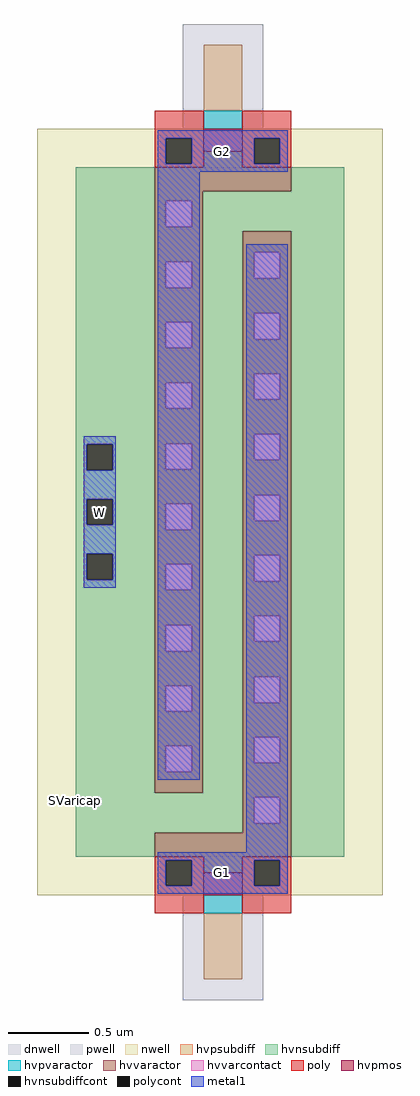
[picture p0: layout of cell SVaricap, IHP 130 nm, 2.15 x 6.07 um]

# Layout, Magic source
magic
tech ihp-sg13g2
magscale 1 2
<< dnwell >>
rect 48 48 382 906
<< nwell >>
rect 0 0 430 954
<< pwell >>
rect 181 954 281 1084
rect 181 -130 281 0
<< hvpmos >>
rect 207 926 255 954
rect 207 0 255 28
<< hvvaractor >>
rect 207 906 255 926
rect 146 876 316 906
rect 146 864 206 876
rect 146 832 160 864
rect 192 832 206 864
rect 146 788 206 832
rect 146 756 160 788
rect 192 756 206 788
rect 146 713 206 756
rect 146 681 160 713
rect 192 681 206 713
rect 146 638 206 681
rect 146 606 160 638
rect 192 606 206 638
rect 146 562 206 606
rect 146 530 160 562
rect 192 530 206 562
rect 146 487 206 530
rect 146 455 160 487
rect 192 455 206 487
rect 146 412 206 455
rect 146 380 160 412
rect 192 380 206 412
rect 146 336 206 380
rect 146 304 160 336
rect 192 304 206 336
rect 146 261 206 304
rect 146 229 160 261
rect 192 229 206 261
rect 146 186 206 229
rect 146 154 160 186
rect 192 154 206 186
rect 146 128 206 154
rect 256 800 316 826
rect 256 768 270 800
rect 302 768 316 800
rect 256 724 316 768
rect 256 692 270 724
rect 302 692 316 724
rect 256 649 316 692
rect 256 617 270 649
rect 302 617 316 649
rect 256 574 316 617
rect 256 542 270 574
rect 302 542 316 574
rect 256 498 316 542
rect 256 466 270 498
rect 302 466 316 498
rect 256 423 316 466
rect 256 391 270 423
rect 302 391 316 423
rect 256 348 316 391
rect 256 316 270 348
rect 302 316 316 348
rect 256 272 316 316
rect 256 240 270 272
rect 302 240 316 272
rect 256 197 316 240
rect 256 165 270 197
rect 302 165 316 197
rect 256 122 316 165
rect 256 90 270 122
rect 302 90 316 122
rect 256 78 316 90
rect 146 48 316 78
rect 207 28 255 48
<< hvvarcontact >>
rect 160 832 192 864
rect 160 756 192 788
rect 160 681 192 713
rect 160 606 192 638
rect 160 530 192 562
rect 160 455 192 487
rect 160 380 192 412
rect 160 304 192 336
rect 160 229 192 261
rect 160 154 192 186
rect 270 768 302 800
rect 270 692 302 724
rect 270 617 302 649
rect 270 542 302 574
rect 270 466 302 498
rect 270 391 302 423
rect 270 316 302 348
rect 270 240 302 272
rect 270 165 302 197
rect 270 90 302 122
<< hvpvaractor >>
rect 207 954 255 976
rect 207 -22 255 0
<< hvpsubdiff >>
rect 207 976 255 1058
rect 207 -104 255 -22
<< hvnsubdiff >>
rect 48 561 146 906
rect 316 876 382 906
rect 206 826 382 876
rect 48 529 62 561
rect 94 529 146 561
rect 48 493 146 529
rect 48 461 62 493
rect 94 461 146 493
rect 48 425 146 461
rect 48 393 62 425
rect 94 393 146 425
rect 48 128 146 393
rect 206 128 256 826
rect 48 78 256 128
rect 48 48 146 78
rect 316 48 382 826
<< hvnsubdiffcont >>
rect 62 529 94 561
rect 62 461 94 493
rect 62 393 94 425
<< poly >>
rect 146 942 207 976
rect 146 910 160 942
rect 192 910 207 942
rect 255 942 316 976
rect 146 906 207 910
rect 255 910 270 942
rect 302 910 316 942
rect 255 906 316 910
rect 146 44 207 48
rect 146 12 160 44
rect 192 12 207 44
rect 255 44 316 48
rect 146 -22 207 12
rect 255 12 270 44
rect 302 12 316 44
rect 255 -22 316 12
<< polycont >>
rect 160 910 192 942
rect 270 910 302 942
rect 160 12 192 44
rect 270 12 302 44
<< metal1 >>
rect 150 942 312 952
rect 150 910 160 942
rect 192 910 270 942
rect 302 910 312 942
rect 150 900 312 910
rect 58 561 98 571
rect 58 529 62 561
rect 94 529 98 561
rect 58 493 98 529
rect 58 461 62 493
rect 94 461 98 493
rect 58 425 98 461
rect 58 393 62 425
rect 94 393 98 425
rect 58 383 98 393
rect 150 144 202 900
rect 260 54 312 810
rect 150 44 312 54
rect 150 12 160 44
rect 192 12 270 44
rect 302 12 312 44
rect 150 2 312 12
<< labels >>
flabel comment s 48 118 48 118 3 FreeSans 500 0 0 0 SVaricap
flabel comment s 78 477 78 477 0 FreeSans 200 0 0 0 W
flabel comment s 231 926 231 926 0 FreeSans 260 0 0 0 G2
flabel comment s 231 28 231 28 0 FreeSans 260 0 0 0 G1
<< end >>
